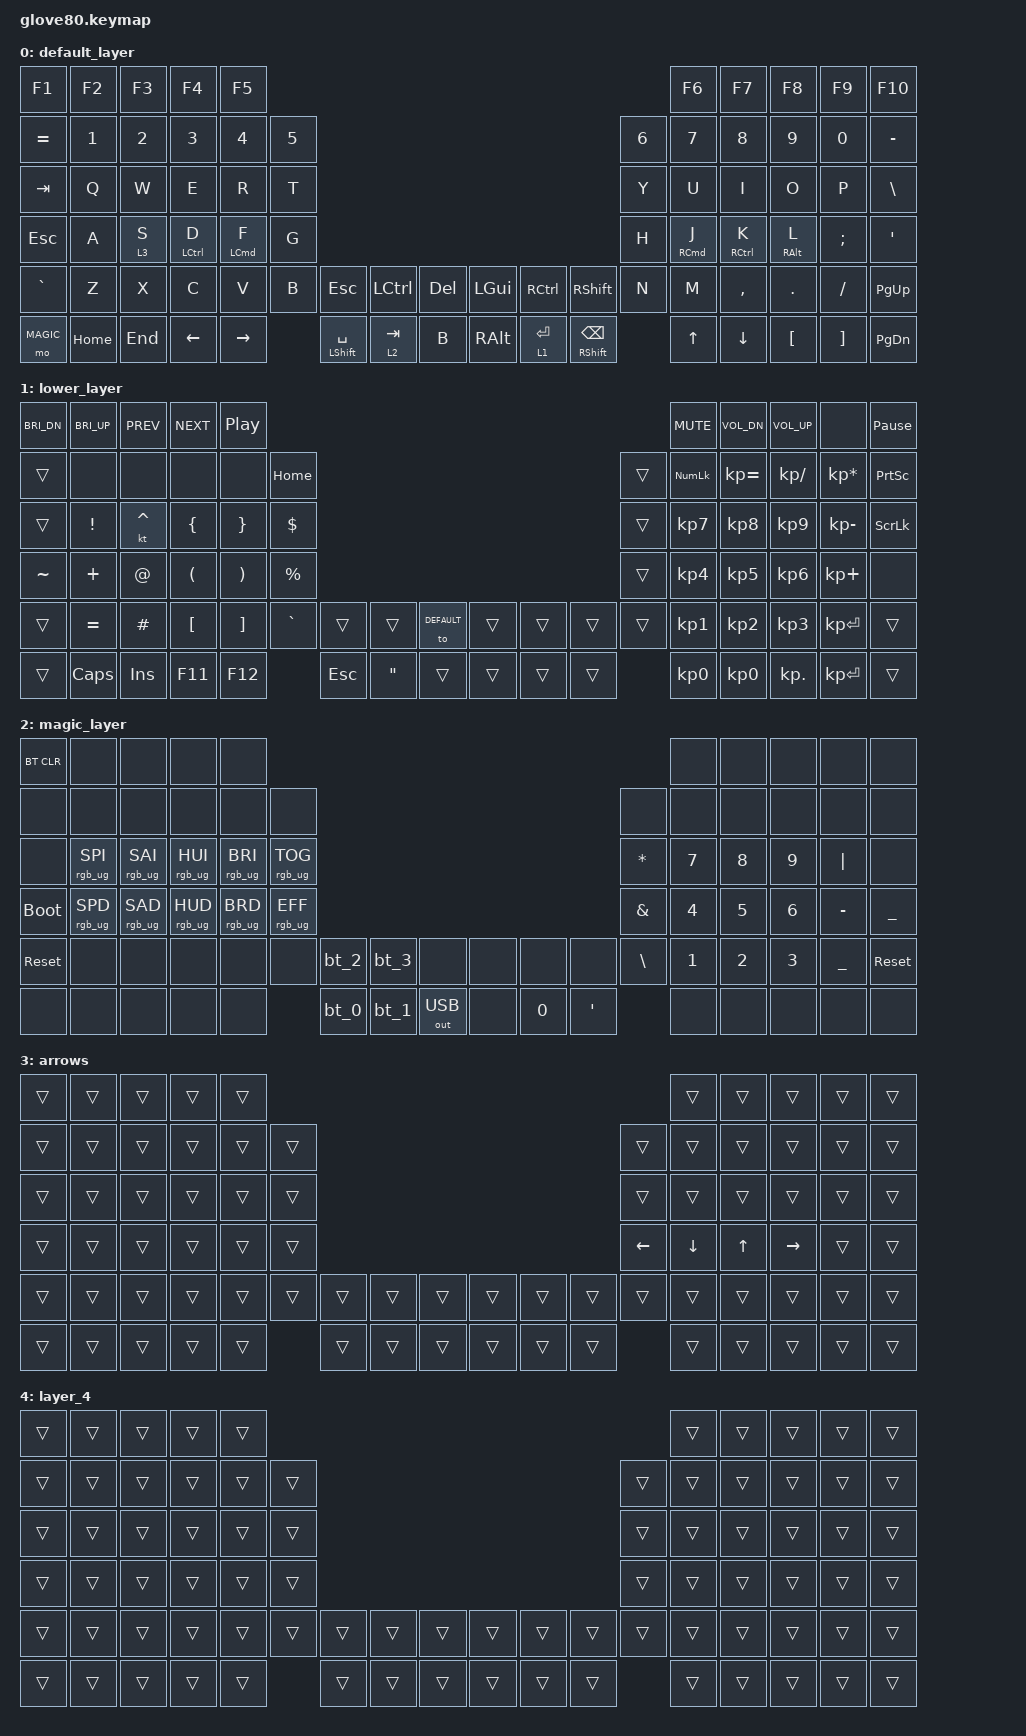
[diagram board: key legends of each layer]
/*
 * Copyright (c) 2020 The ZMK Contributors
 *
 * SPDX-License-Identifier: MIT
 */

#include <behaviors.dtsi>
#include <dt-bindings/zmk/bt.h>
#include <dt-bindings/zmk/keys.h>
#include <dt-bindings/zmk/outputs.h>
#include <dt-bindings/zmk/rgb.h>

// layers

#define DEFAULT 0
#define LOWER 1
#define MAGIC 2

/ {
    behaviors {
        // For the "layer" key, it'd nice to be able to use it as either a shift or a toggle.
        // Configure it as a tap dance, so the first tap (or hold) is a &mo and the second tap is a &to

        layer_td: tap_dance_0 {
            compatible = "zmk,behavior-tap-dance";
            #binding-cells = <0>;
            tapping-term-ms = <200>;
            bindings = <&mo LOWER>, <&to LOWER>;
        };

        hml: hml {
            compatible = "zmk,behavior-hold-tap";
            label = "HML";
            bindings = <&kp>, <&kp>;

            #binding-cells = <2>;
            tapping-term-ms = <280>;
            flavor = "balanced";
            hold-trigger-key-positions = <5 6 7 8 9 16 17 18 19 20 21 28 29 30 31 32 33 40 41 42 43 44 45 55 56 57 58 59 60 61 62 63 72 73 74 75 76 77 78 79 52 53 54 69 70 71 38 37 36 35>;
            quick-tap-ms = <280>;
        };

        hmr: hmr {
            compatible = "zmk,behavior-hold-tap";
            label = "HMR";
            bindings = <&kp>, <&kp>;

            #binding-cells = <2>;
            tapping-term-ms = <280>;
            flavor = "balanced";
            hold-trigger-key-positions = <0 1 2 3 4 10 11 12 13 14 15 22 23 24 25 26 27 34 35 36 37 38 39 46 47 48 49 50 51 52 53 54 64 65 66 67 68 69 70 71 55 56 57 72 73 74 41 42 43 44>;
            quick-tap-ms = <280>;
        };
    };

    macros {
        bt_0: bt_profile_macro_0 {
            compatible = "zmk,behavior-macro";
            #binding-cells = <0>;
            bindings = <&out OUT_BLE &bt BT_SEL 0>;
        };

        bt_1: bt_profile_macro_1 {
            compatible = "zmk,behavior-macro";
            #binding-cells = <0>;
            bindings = <&out OUT_BLE &bt BT_SEL 1>;
        };

        bt_2: bt_profile_macro_2 {
            compatible = "zmk,behavior-macro";
            #binding-cells = <0>;
            bindings = <&out OUT_BLE &bt BT_SEL 2>;
        };

        bt_3: bt_profile_macro_3 {
            compatible = "zmk,behavior-macro";
            #binding-cells = <0>;
            bindings = <&out OUT_BLE &bt BT_SEL 3>;
        };
    };

    keymap {
        compatible = "zmk,keymap";

        default_layer {
            // ---------------------------------------------------------------------------------------------------------------------------------
            // |  F1   |  F2 |  F3 |  F4  |  F5  |                                                               |  F6   |  F7   |  F8  |   F9  |  F10 |
            // |  =    |  1  |  2  |  3   |  4   |  5   |                                                 |  6   |   7   |   8   |  9   |   0   |   -  |
            // |  TAB  |  Q  |  W  |  E   |  R   |  T   |                                                 |  Y   |   U   |   I   |  O   |   P   |   \  |
            // |  ESC  |  A  |  S  |  D   |  F   |  G   |                                                 |  H   |   J   |   K   |  L   |   ;   |   '  |
            // |   `   |  Z  |  X  |  C   |  V   |  B   | LSHFT | LCTRL | LOWER | | LGUI  | RCTRL | RSHFT |  N   |   M   |   ,   |  .   |   /   | PGUP |
            // | MAGIC | HOME| END | LEFT | RIGHT|      | BSPC  | DEL   | LALT  | | RALT  | RET   | SPACE |      |  UP   | DOWN  |  [   |   ]   | PGDN |

            bindings = <
&kp F1     &kp F2    &kp F3   &kp F4               &kp F5                                                                                                                               &kp F6                &kp F7                &kp F8            &kp F9         &kp F10
&kp EQUAL  &kp N1    &kp N2   &kp N3               &kp N4               &kp N5                                                                                                  &kp N6  &kp N7                &kp N8                &kp N9            &kp N0         &kp MINUS
&kp TAB    &kp Q     &kp W    &kp E                &kp R                &kp T                                                                                                   &kp Y   &kp U                 &kp I                 &kp O             &kp P          &kp BSLH
&kp ESC    &kp A     &lt 3 S  &hml LEFT_CONTROL D  &hml LEFT_COMMAND F  &kp G                                                                                                   &kp H   &hmr RIGHT_COMMAND J  &hmr RIGHT_CONTROL K  &hmr RIGHT_ALT L  &kp SEMICOLON  &kp SQT
&kp GRAVE  &kp Z     &kp X    &kp C                &kp V                &kp B   &kp ESCAPE             &kp LCTRL  &kp DEL    &kp LGUI  &kp RCTRL    &kp RSHFT                   &kp N   &kp M                 &kp COMMA             &kp DOT           &kp FSLH       &kp PG_UP
&mo MAGIC  &kp HOME  &kp END  &kp LEFT             &kp RIGHT                    &hml LEFT_SHIFT SPACE  &lt 2 TAB  &kp B      &kp RALT  &lt 1 ENTER  &hmr RIGHT_SHIFT BACKSPACE          &kp UP                &kp DOWN              &kp LBKT          &kp RBKT       &kp PG_DN
            >;
        };

        lower_layer {
            bindings = <
&kp C_BRI_DN  &kp C_BRI_UP     &kp C_PREV   &kp C_NEXT            &kp C_PP                                                                                                          &kp C_MUTE  &kp C_VOL_DN  &kp C_VOL_UP   &none            &kp PAUSE_BREAK
&trans        &none            &none        &none                 &none                  &kp HOME                                                                           &trans  &kp KP_NUM  &kp KP_EQUAL  &kp KP_DIVIDE  &kp KP_MULTIPLY  &kp PSCRN
&trans        &kp EXCLAMATION  &kt CARET    &kp LEFT_BRACE        &kp RIGHT_BRACE        &kp DOLLAR                                                                         &trans  &kp KP_N7   &kp KP_N8     &kp KP_N9      &kp KP_MINUS     &kp SLCK
&kp TILDE     &kp PLUS         &kp AT_SIGN  &kp LEFT_PARENTHESIS  &kp RIGHT_PARENTHESIS  &kp PERCENT                                                                        &trans  &kp KP_N4   &kp KP_N5     &kp KP_N6      &kp KP_PLUS      &none
&trans        &kp EQUAL        &kp HASH     &kp LEFT_BRACKET      &kp RIGHT_BRACKET      &kp GRAVE    &trans      &trans             &to DEFAULT    &trans  &trans  &trans  &trans  &kp KP_N1   &kp KP_N2     &kp KP_N3      &kp KP_ENTER     &trans
&trans        &kp CAPS         &kp INS      &kp F11               &kp F12                             &kp ESCAPE  &kp DOUBLE_QUOTES  &trans         &trans  &trans  &trans          &kp KP_N0   &kp KP_N0     &kp KP_DOT     &kp KP_ENTER     &trans
            >;
        };

        magic_layer {
            bindings = <
&bt BT_CLR   &none            &none            &none            &none                                                                                                                 &none         &none         &none         &none           &none
&none        &none            &none            &none            &none            &none                                                                                 &none          &none         &none         &none         &none           &none
&none        &rgb_ug RGB_SPI  &rgb_ug RGB_SAI  &rgb_ug RGB_HUI  &rgb_ug RGB_BRI  &rgb_ug RGB_TOG                                                                       &kp ASTERISK   &kp NUMBER_7  &kp NUMBER_8  &kp NUMBER_9  &kp PIPE        &none
&bootloader  &rgb_ug RGB_SPD  &rgb_ug RGB_SAD  &rgb_ug RGB_HUD  &rgb_ug RGB_BRD  &rgb_ug RGB_EFF                                                                       &kp AMPERSAND  &kp NUMBER_4  &kp NUMBER_5  &kp NUMBER_6  &kp MINUS       &kp UNDERSCORE
&sys_reset   &none            &none            &none            &none            &none            &bt_2  &bt_3  &none           &none  &none         &none             &kp BACKSLASH  &kp NUMBER_1  &kp NUMBER_2  &kp NUMBER_3  &kp UNDERSCORE  &sys_reset
&none        &none            &none            &none            &none                             &bt_0  &bt_1  &out OUT_USB    &none  &kp NUMBER_0  &kp SINGLE_QUOTE                 &none         &none         &none         &none           &none
            >;
        };

        arrows {
            bindings = <
&trans  &trans  &trans  &trans  &trans                                                                            &trans          &trans        &trans     &trans  &trans
&trans  &trans  &trans  &trans  &trans  &trans                                                    &trans          &trans          &trans        &trans     &trans  &trans
&trans  &trans  &trans  &trans  &trans  &trans                                                    &trans          &trans          &trans        &trans     &trans  &trans
&trans  &trans  &trans  &trans  &trans  &trans                                                    &kp LEFT_ARROW  &kp DOWN_ARROW  &kp UP_ARROW  &kp RIGHT  &trans  &trans
&trans  &trans  &trans  &trans  &trans  &trans  &trans  &trans  &trans    &trans  &trans  &trans  &trans          &trans          &trans        &trans     &trans  &trans
&trans  &trans  &trans  &trans  &trans          &trans  &trans  &trans    &trans  &trans  &trans                  &trans          &trans        &trans     &trans  &trans
            >;
        };

        layer_4 {
            bindings = <
&trans  &trans  &trans  &trans  &trans                                                                    &trans  &trans  &trans  &trans  &trans
&trans  &trans  &trans  &trans  &trans  &trans                                                    &trans  &trans  &trans  &trans  &trans  &trans
&trans  &trans  &trans  &trans  &trans  &trans                                                    &trans  &trans  &trans  &trans  &trans  &trans
&trans  &trans  &trans  &trans  &trans  &trans                                                    &trans  &trans  &trans  &trans  &trans  &trans
&trans  &trans  &trans  &trans  &trans  &trans  &trans  &trans  &trans    &trans  &trans  &trans  &trans  &trans  &trans  &trans  &trans  &trans
&trans  &trans  &trans  &trans  &trans          &trans  &trans  &trans    &trans  &trans  &trans          &trans  &trans  &trans  &trans  &trans
            >;
        };
    };
};
